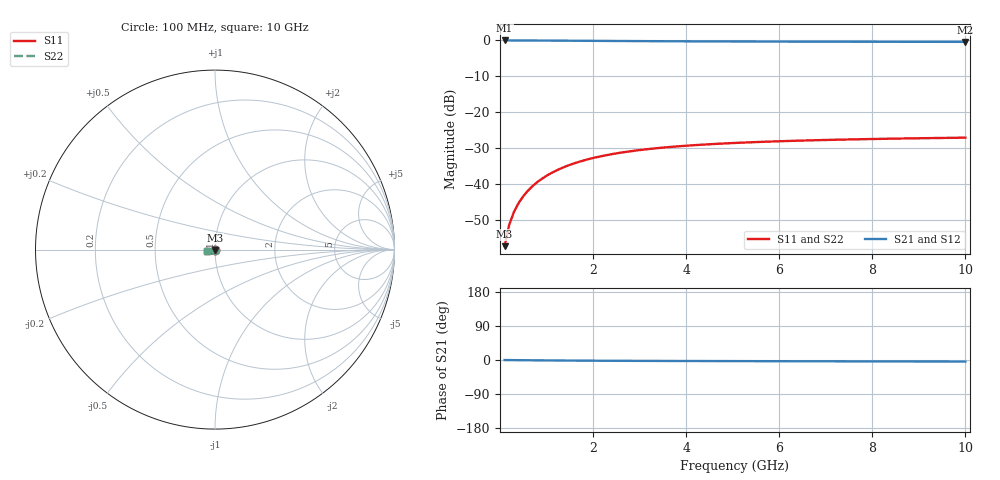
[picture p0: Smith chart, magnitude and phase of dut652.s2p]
! Touchstone file exported from HFSS 2024.1.0
!  File:  C:/UserFiles/LocalFiles/RDL_TSV_Batchsim/temp_TSV1_652_1779792134.aedt
!  Generated:  06:47:42 PM May 26, 2026
!  Design:  TSV1
!  Project:  temp_TSV1_652_1779792134
!  Setup:  Setup1
!  Solution:  Sweep
! Variables:
!  dtsv = 14.42um
!  hbump = 3um
!  htsv = 60.77um
!  lrdl = 252.1521522um
!  p = 40
!  p1 = 54.93um
!  t = 500um
!  trdl = 3um
!  wrdl = 24.89489489um
# GHz S MA R 50.000000
! Terminal data exported
! Port[1] = TSV22_T1
! Port[2] = TSV22_T2
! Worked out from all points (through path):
!   100 points, 100 MHz to 10 GHz, reference 50 ohm
!   highest |S21| = 0.00 dB at 100 MHz (marker M1); lowest = -0.4 dB at 10 GHz (marker M2)
!   lowest |S11| = -57.4 dB at 100 MHz (marker M3), VSWR 1.00, Z = 50 - j0.135 ohm
!   |S11| at or under -10 dB: start of sweep to end of sweep
!   |S22| runs from -57.4 to -27.1 dB; largest |S21 - S12| = 6.3e-15
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0.1  0.001349 -88.9  0.9999 -0.1  0.9999 -0.1  0.001349 -88.9
! Gamma 0 0 0 0
! Port Impedance 50 0 50 0
0.2  0.002697 -92.1  0.9997 -0.2  0.9997 -0.2  0.002697 -92.1
0.3  0.004043 -94.4  0.9995 -0.3  0.9995 -0.3  0.004043 -94.4
0.4  0.005379 -96.6  0.9992 -0.5  0.9992 -0.5  0.005379 -96.6
0.5  0.006701 -98.6  0.9988 -0.6  0.9988 -0.6  0.006701 -98.6
0.6  0.008003 -100.5  0.9983 -0.7  0.9983 -0.7  0.008003 -100.5
0.7  0.009281 -102.5  0.9977 -0.8  0.9977 -0.8  0.009281 -102.5
0.8  0.01053 -104.3  0.9971 -0.9  0.9971 -0.9  0.01053 -104.3
0.9  0.01175 -106.2  0.9965 -1.0  0.9965 -1.0  0.01175 -106.2
1.1  0.0141 -109.7  0.995 -1.2  0.995 -1.2  0.0141 -109.7
1.4  0.01735 -114.6  0.9925 -1.4  0.9925 -1.4  0.01735 -114.6
1.6  0.01934 -117.7  0.9908 -1.6  0.9908 -1.6  0.01934 -117.7
1.8  0.02118 -120.7  0.989 -1.7  0.989 -1.7  0.02118 -120.7
2.1  0.02368 -124.8  0.9864 -1.9  0.9864 -1.9  0.02368 -124.8
2.5  0.02657 -129.7  0.9829 -2.1  0.9829 -2.1  0.02657 -129.7
2.9  0.029 -134.0  0.9798 -2.3  0.9798 -2.3  0.029 -134.0
3.4  0.03153 -138.7  0.9762 -2.5  0.9762 -2.5  0.03153 -138.7
4.2  0.03468 -145.1  0.9714 -2.7  0.9714 -2.7  0.03468 -145.1
5.1  0.03729 -150.9  0.9672 -3.0  0.9672 -3.0  0.03729 -150.9
6.7  0.04044 -159.0  0.9619 -3.4  0.9619 -3.4  0.04044 -159.0
8.4  0.04261 -165.5  0.9582 -3.8  0.9582 -3.8  0.04261 -165.5
10  0.04404 -170.5  0.9558 -4.2  0.9558 -4.2  0.04404 -170.5
